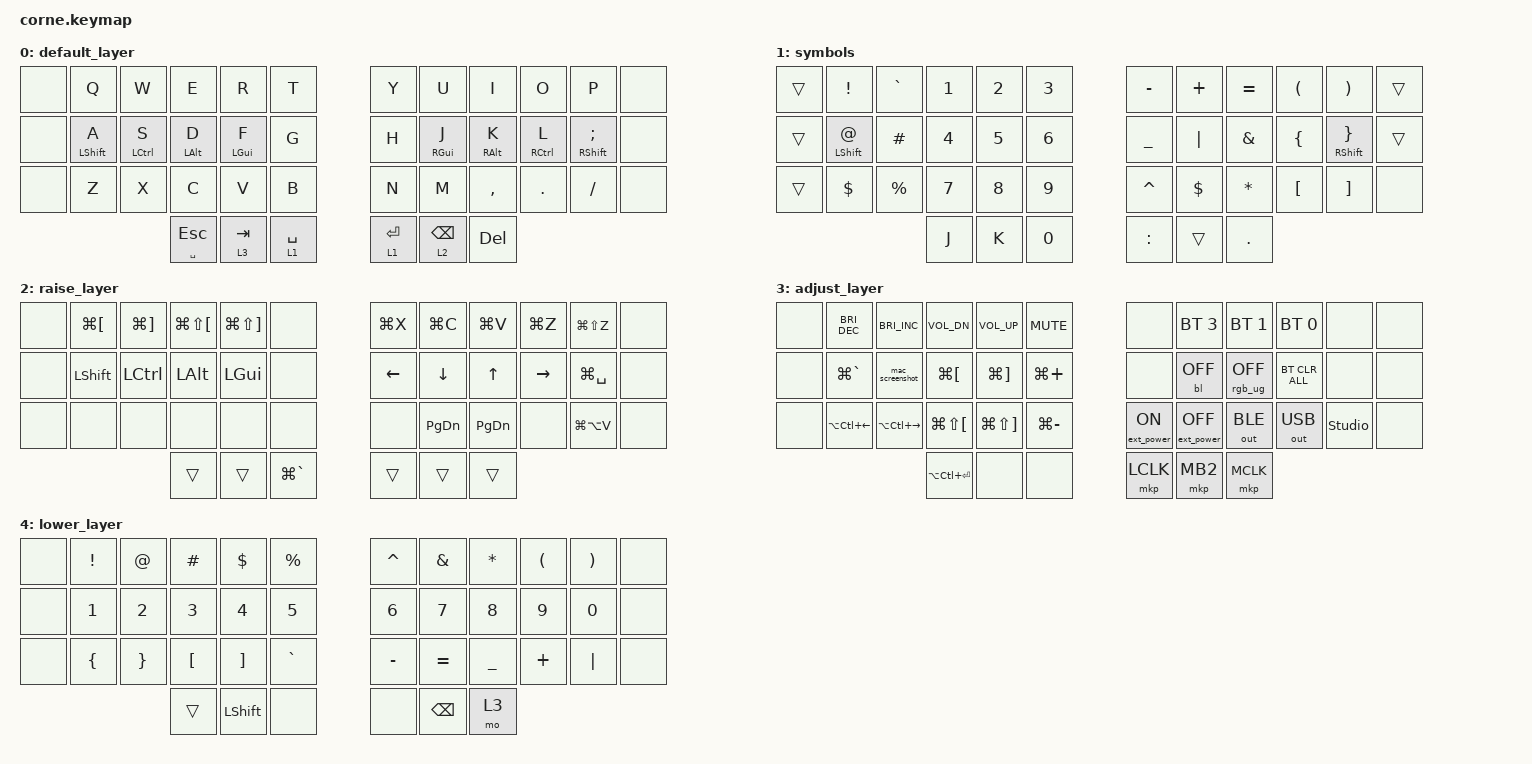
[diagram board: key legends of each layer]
#include <dt-bindings/zmk/mouse.h>
#include <behaviors.dtsi>
#include <dt-bindings/zmk/backlight.h>
#include <dt-bindings/zmk/bt.h>
#include <dt-bindings/zmk/ext_power.h>
#include <dt-bindings/zmk/keys.h>
#include <dt-bindings/zmk/outputs.h>
#include <dt-bindings/zmk/pointing.h>
#include <dt-bindings/zmk/rgb.h>

#define DEFAULT 0
#define LOWER   1
#define RAISE   2
#define ADJUST  3

/ {
    behaviors {
        hml: homerow_mods {
            compatible = "zmk,behavior-hold-tap";
            label = "HOMEROW_MODS";
            #binding-cells = <2>;
            tapping-term-ms = <180>;
            quick-tap-ms = <0>;
            flavor = "balanced";
            bindings = <&kp>, <&kp>;

            hold-trigger-key-positions = <36 37 38 6 7 8 9 10 11 18 19 20 21 22 23 30 31 32 33 34 35 39 40 41 13 14 15 16>;
        };

        hrr: hrr {
            compatible = "zmk,behavior-hold-tap";
            label = "HRR";
            #binding-cells = <2>;
            tapping-term-ms = <180>;
            quick-tap-ms = <0>;
            flavor = "balanced";
            bindings = <&kp>, <&kp>;

            hold-trigger-key-positions = <41 40 39 0 1 2 3 4 5 12 13 14 15 16 17 24 25 26 27 28 29 36 37 38 22 21 20 19>;
        };
    };

    combos {
        compatible = "zmk,combos";

        combo_esc {
            timeout-ms = <50>;
            key-positions = <1 2>;
            bindings = <&kp ESC>;
        };

        combo_tab {
            timeout-ms = <50>;
            key-positions = <4 3>;
            bindings = <&kp TAB>;
        };

        rekey {
            bindings = <&key_repeat>;
            key-positions = <16 19>;
        };

        htmlopen {
            bindings = <&htmlel>;
            key-positions = <13 22>;
        };

        afunc {
            bindings = <&afunc>;
            key-positions = <14 21>;
        };

        equal {
            bindings = <&kp EQUAL>;
            key-positions = <1 3>;
        };

        unlock {
            bindings = <&studio_unlock>;
            key-positions = <1 2 3>;
        };

        eqobj {
            bindings = <&eqobject>;
            key-positions = <30 31>;
        };

        eqstr {
            bindings = <&eqstring>;
            key-positions = <32 31>;
        };

        dquote {
            bindings = <&kp DOUBLE_QUOTES>;
            key-positions = <6 7>;
        };

        squote {
            bindings = <&kp SQT>;
            key-positions = <7 8>;
        };

        gve {
            bindings = <&kp GRAVE>;
            key-positions = <8 9>;
        };

        eqaff {
            bindings = <&eqarr>;
            key-positions = <32 33>;
        };

        cut {
            bindings = <&kp LG(X)>;
            key-positions = <25 26>;
        };

        copy {
            bindings = <&kp LG(C)>;
            key-positions = <26 27>;
        };

        paste {
            bindings = <&kp LG(V)>;
            key-positions = <27 28>;
        };

        rightclick {
            bindings = <&mkp LCLK>;
            key-positions = <38 16>;
        };

        click2 {
            bindings = <&mkp RCLK>;
            key-positions = <38 15>;
        };

        click3 {
            bindings = <&mkp MCLK>;
            key-positions = <38 14>;
        };
    };

    macros {
        mac_screenshot: mac_screenshot {
            label = "MAC_SCREENSHOT";
            compatible = "zmk,behavior-macro";
            #binding-cells = <0>;
            bindings =
                <&macro_press>,
                <&kp LSHFT &kp LEFT_CONTROL &kp LCMD>,
                <&macro_tap>,
                <&kp N4>,
                <&macro_release>,
                <&kp LSHFT &kp LEFT_CONTROL &kp LCMD>;
        };

        afunc: afunc {
            compatible = "zmk,behavior-macro";
            #binding-cells = <0>;
            bindings = <&kp LEFT_PARENTHESIS &kp RIGHT_PARENTHESIS &kp EQUAL &kp GREATER_THAN &kp LEFT_BRACE &kp LS(RIGHT_BRACE) &kp LEFT>;
            label = "AF";
        };

        htmlel: htmlel {
            compatible = "zmk,behavior-macro";
            #binding-cells = <0>;
            bindings = <&kp LESS_THAN &kp GREATER_THAN &kp LEFT>;
            label = "HTML";
        };

        htmlelclose: htmlelclose {
            compatible = "zmk,behavior-macro";
            #binding-cells = <0>;
            bindings = <&kp LESS_THAN &kp SLASH &kp GREATER_THAN &kp LEFT>;
            label = "HTMLELCLOSE";
        };

        eqobject: eqobject {
            compatible = "zmk,behavior-macro";
            #binding-cells = <0>;
            bindings = <&kp EQUAL &kp LEFT_BRACE &kp RIGHT_BRACE &kp LEFT>;
            label = "EQOBJECT";
        };

        eqstring: eqstring {
            compatible = "zmk,behavior-macro";
            #binding-cells = <0>;
            bindings = <&kp EQUAL &kp DOUBLE_QUOTES &kp DOUBLE_QUOTES &kp LEFT>;
            label = "EQSTRING";
        };

        eqarr: eq_brace {
            compatible = "zmk,behavior-macro";
            #binding-cells = <0>;
            bindings = <&kp EQUAL &kp LEFT_BRACKET &kp RIGHT_BRACKET &kp LEFT>;
            label = "EQ_BRACE";
        };
    };

    keymap {
        compatible = "zmk,keymap";

        default_layer {
            bindings = <
&none  &kp Q          &kp W         &kp E             &kp R        &kp T          &kp Y        &kp U            &kp I        &kp O         &kp P             &none
&none  &hml LSHIFT A  &hml LCTRL S  &hml LALT D       &hml LGUI F  &kp G          &kp H        &hrr RGUI J      &hrr RALT K  &hrr RCTRL L  &hrr RSHIFT SEMI  &none
&none  &kp Z          &kp X         &kp C             &kp V        &kp B          &kp N        &kp M            &kp COMMA    &kp DOT       &kp SLASH         &none
                                    &mt SPACE ESCAPE  &lt 3 TAB    &lt 1 SPACE    &lt 1 ENTER  &lt 2 BACKSPACE  &kp DEL
            >;
        };

        symbols {
            bindings = <
&trans  &kp EXCLAMATION          &kp GRAVE    &kp N1  &kp N2  &kp N3    &kp MINUS  &kp PLUS    &kp EQUAL      &kp LEFT_PARENTHESIS  &kp RIGHT_PARENTHESIS         &trans
&trans  &hrr LEFT_SHIFT AT_SIGN  &kp HASH     &kp N4  &kp N5  &kp N6    &kp UNDER  &kp PIPE    &kp AMPERSAND  &kp LEFT_BRACE        &hrr RIGHT_SHIFT RIGHT_BRACE  &trans
&trans  &kp DOLLAR               &kp PERCENT  &kp N7  &kp N8  &kp N9    &kp CARET  &kp DOLLAR  &kp ASTERISK   &kp LEFT_BRACKET      &kp RIGHT_BRACKET             &none
                                              &kp J   &kp K   &kp N0    &kp COLON  &trans      &kp PERIOD
            >;
        };

        raise_layer {
            bindings = <
&none  &kp LG(LEFT_BRACKET)  &kp LG(RIGHT_BRACKET)  &kp LG(LS(LEFT_BRACKET))  &kp LG(LS(RIGHT_BRACKET))  &none            &kp LG(X)  &kp LG(C)       &kp LG(V)      &kp LG(Z)        &kp LG(LS(Z))  &none
&none  &kp LEFT_SHIFT        &kp LEFT_CONTROL       &kp LEFT_ALT              &kp LEFT_GUI               &none            &kp LEFT   &kp DOWN_ARROW  &kp UP_ARROW   &kp RIGHT_ARROW  &kp LG(SPACE)  &none
&none  &none                 &none                  &none                     &none                      &none            &none      &kp PAGE_DOWN   &kp PAGE_DOWN  &none            &kp LG(LA(V))  &none
                                                    &trans                    &trans                     &kp LG(GRAVE)    &trans     &trans          &trans
            >;
        };

        adjust_layer {
            bindings = <
&none  &kp C_BRIGHTNESS_DEC    &kp C_BRIGHTNESS_INC  &kp C_VOL_DN              &kp C_VOL_UP               &kp K_MUTE       &none             &bt BT_SEL 3       &bt BT_SEL 1     &bt BT_SEL 0    &none           &none
&none  &kp LG(GRAVE)           &mac_screenshot       &kp LG(LEFT_BRACKET)      &kp LG(RIGHT_BRACKET)      &kp LG(PLUS)     &none             &bl BL_OFF         &rgb_ug RGB_OFF  &bt BT_CLR_ALL  &none           &none
&none  &kp LA(LC(LEFT_ARROW))  &kp LA(LC(RIGHT))     &kp LG(LS(LEFT_BRACKET))  &kp LG(LS(RIGHT_BRACKET))  &kp LG(MINUS)    &ext_power EP_ON  &ext_power EP_OFF  &out OUT_BLE     &out OUT_USB    &studio_unlock  &none
                                                     &kp LA(LC(ENTER))         &none                      &none            &mkp LCLK         &mkp MB2           &mkp MCLK
            >;
        };

        lower_layer {
            bindings = <
&none  &kp EXCL  &kp AT    &kp HASH  &kp DLLR        &kp PRCNT    &kp CARET  &kp AMPS   &kp STAR   &kp LPAR  &kp RPAR  &none
&none  &kp N1    &kp N2    &kp N3    &kp N4          &kp N5       &kp N6     &kp N7     &kp N8     &kp N9    &kp N0    &none
&none  &kp LBRC  &kp RBRC  &kp LBKT  &kp RBKT        &kp GRAVE    &kp MINUS  &kp EQUAL  &kp UNDER  &kp PLUS  &kp PIPE  &none
                           &trans    &kp LEFT_SHIFT  &none        &none      &kp BSPC   &mo 3
            >;
        };
    };
};
